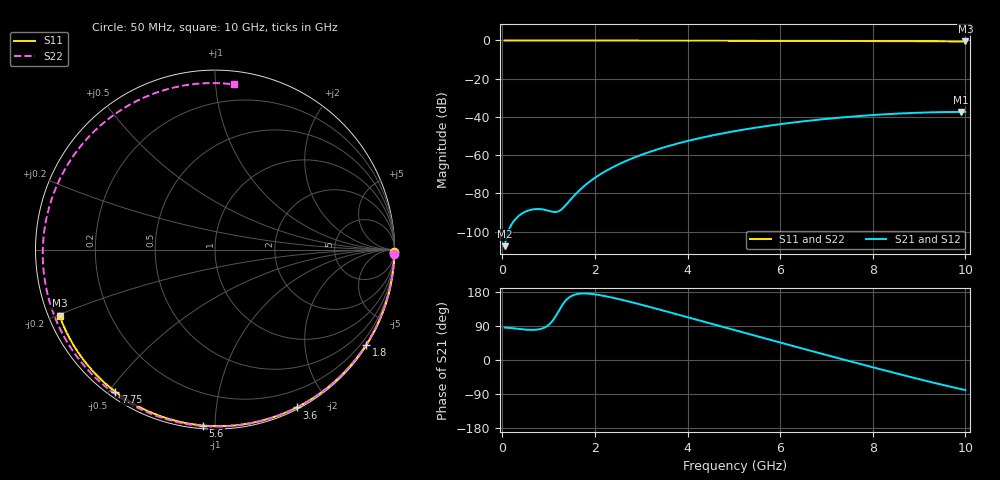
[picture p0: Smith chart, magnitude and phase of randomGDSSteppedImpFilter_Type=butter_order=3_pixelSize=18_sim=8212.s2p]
! freq	dB(S11)	phase(S11)	dB(S12)	phase(S12)
!  dB(S21)	phase(S21)	dB(S22)	phase(S22)
!S-par simulation data
#  GHz  S  DB  R 50
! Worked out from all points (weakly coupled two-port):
!   200 points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, 50 MHz to 10 GHz, reference 50 ohm
!   highest |S21| = -37.40 dB at 9.9 GHz (marker M1); lowest = -107.6 dB at 50 MHz (marker M2)
!   lowest |S11| = -0.5 dB at 10 GHz (marker M3), VSWR 32.90, Z = 1.58 - j10.2 ohm
!   |S11| at or under -10 dB: nowhere
!   |S22| runs from -0.7 to 0.0 dB; largest |S21 - S12| = 0
!   S11 on the Smith chart (normalised r, x): 50 MHz: open; 1.8 GHz: 0.03, -3.47; 3.6 GHz: 0.02, -1.64; 5.6 GHz: 0.02, -0.93; 7.75 GHz: 0.02, -0.52; 10 GHz: 0.03, -0.20
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0.05  -0.01 -0.9  -107.63 85.5  -107.63 85.5  -0.00 -1.3
0.8  -0.02 -14.4  -88.20 81.2  -88.20 81.2  -0.03 -21.9
1.6  -0.04 -28.6  -79.96 173.5  -79.96 173.5  -0.06 -43.4
1.75  -0.04 -31.3  -76.53 175.5  -76.53 175.5  -0.06 -47.4
1.8  -0.04 -32.1  -75.51 175.4  -75.51 175.4  -0.06 -48.7
2.1  -0.05 -37.4  -70.28 171.3  -70.28 171.3  -0.07 -56.5
2.45  -0.06 -43.4  -65.54 162.6  -65.54 162.6  -0.08 -65.6
2.9  -0.07 -51.0  -60.78 149.1  -60.78 149.1  -0.10 -77.0
3.4  -0.08 -59.3  -56.60 132.9  -56.60 132.9  -0.12 -89.5
3.6  -0.08 -62.6  -55.16 126.3  -55.16 126.3  -0.13 -94.5
4.3  -0.10 -73.8  -50.90 102.9  -50.90 102.9  -0.16 -111.6
5.05  -0.13 -85.5  -47.32 77.7  -47.32 77.7  -0.20 -129.9
5.6  -0.16 -93.9  -45.17 59.4  -45.17 59.4  -0.24 -143.3
6.15  -0.18 -102.0  -43.33 41.1  -43.33 41.1  -0.28 -157.1
6.7  -0.21 -110.0  -41.77 23.0  -41.77 23.0  -0.33 -171.3
7.25  -0.25 -117.9  -40.46 5.0  -40.46 5.0  -0.38 173.9
7.75  -0.29 -125.0  -39.46 -11.2  -39.46 -11.2  -0.43 159.6
8.35  -0.34 -133.5  -38.51 -30.3  -38.51 -30.3  -0.50 141.3
9.2  -0.43 -145.5  -37.64 -56.6  -37.64 -56.6  -0.59 112.9
9.55  -0.47 -150.5  -37.46 -66.9  -37.46 -66.9  -0.63 100.4
9.9  -0.52 -155.5  -37.40 -76.7  -37.40 -76.7  -0.66 87.3
10  -0.53 -157.0  -37.41 -79.4  -37.41 -79.4  -0.67 83.5
